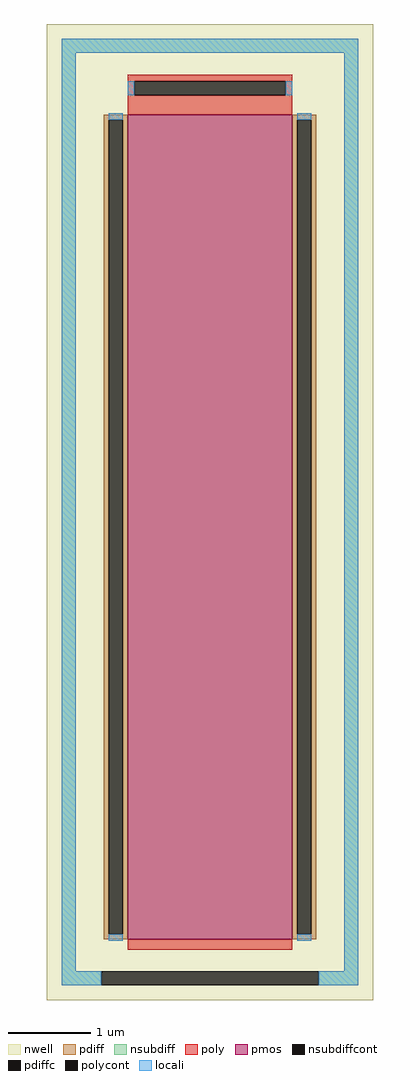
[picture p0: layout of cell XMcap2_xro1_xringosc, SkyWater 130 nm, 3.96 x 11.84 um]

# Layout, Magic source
magic
tech sky130A
magscale 1 2
<< nwell >>
rect -396 -1184 396 1184
<< pmos >>
rect -200 -1036 200 964
<< pdiff >>
rect -258 952 -200 964
rect -258 -1024 -246 952
rect -212 -1024 -200 952
rect -258 -1036 -200 -1024
rect 200 952 258 964
rect 200 -1024 212 952
rect 246 -1024 258 952
rect 200 -1036 258 -1024
<< pdiffc >>
rect -246 -1024 -212 952
rect 212 -1024 246 952
<< nsubdiff >>
rect -360 1114 360 1148
rect -360 -1114 -326 1114
rect 326 -1114 360 1114
rect -360 -1148 -264 -1114
rect 264 -1148 360 -1114
<< nsubdiffcont >>
rect -264 -1148 264 -1114
<< poly >>
rect -200 1045 200 1061
rect -200 1011 -184 1045
rect 184 1011 200 1045
rect -200 964 200 1011
rect -200 -1062 200 -1036
<< polycont >>
rect -184 1011 184 1045
<< locali >>
rect -360 1114 360 1148
rect -360 -1114 -326 1114
rect -200 1011 -184 1045
rect 184 1011 200 1045
rect -246 952 -212 968
rect -246 -1040 -212 -1024
rect 212 952 246 968
rect 212 -1040 246 -1024
rect 326 -1114 360 1114
rect -360 -1148 -264 -1114
rect 264 -1148 360 -1114
<< properties >>
string FIXED_BBOX -343 -1131 343 1131
<< end >>
